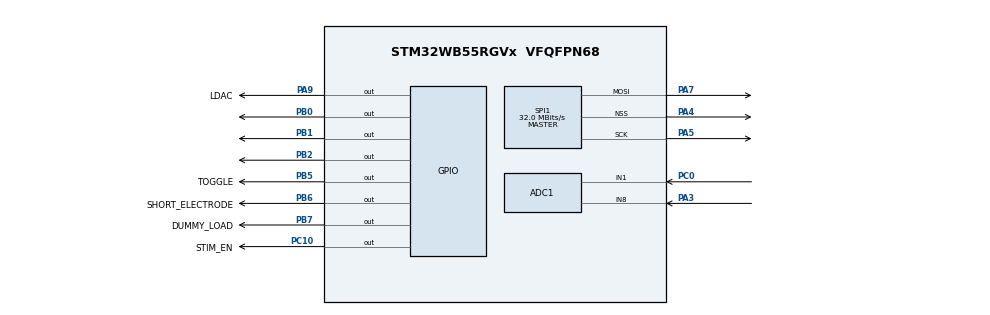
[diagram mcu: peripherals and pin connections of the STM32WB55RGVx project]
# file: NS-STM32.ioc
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ADC1.AWD1LowThreshold=113
STM32_WPAN.GAP_PERIPHERAL_ROLE=1
SPI1.VirtualType=VM_MASTER
RF1.Signal=RF_RF1
RCC.SMPSCLockSelectionVirtualVirtual=RCC_SMPSCLKSOURCE_HSI
STM32_WPAN.CUSTOM_TEMPLATE=Enabled
VP_RTC_VS_RTC_Activate.Mode=RTC_Enabled
PB6.GPIO_Label=SHORT_ELECTRODE
SPI1.TIMode=SPI_TIMODE_DISABLE
RCC.SYSCLKSource=RCC_SYSCLKSOURCE_PLLCLK
NVIC.ADC1_IRQn=true\:2\:0\:true\:false\:true\:true\:false
STM32_WPAN.NUMBER_OF_SERVICES=2
ADC1.Channel-5\#ChannelRegularConversion=ADC_CHANNEL_1
PA4.Mode=NSS_Signal_Hard_Output
STM32_WPAN.SERVICE2_CHAR1_LENGTH_CHARACTERISTIC=CHAR_VALUE_LEN_CONSTANT
SPI1.Direction=SPI_DIRECTION_2LINES
STM32_WPAN.LOCAL_NAME=NeuroST
STM32_WPAN.SERVICE1_CHAR3_LONG_NAME=OTA_REQ
RCC.APB2TimFreq_Value=64000000
PB6.Signal=GPIO_Output
Dma.ADC1.0.Direction=DMA_PERIPH_TO_MEMORY
ADC1.InjNumberOfConversion=1
SPI1.CalculateBaudRate=32.0 MBits/s
STM32_WPAN.CFG_TX_POWER=(0x1F) /* 6dBm */
Dma.ADC1.0.MemDataAlignment=DMA_MDATAALIGN_HALFWORD
LPTIM2.ClockPrescaler=LPTIM_PRESCALER_DIV128
PB3.Mode=Trace_Asynchronous_SW
PB2.Signal=GPIO_Output
RCC.RTCClockSelection=RCC_RTCCLKSOURCE_LSE
STM32_WPAN.SERVICE2_CHAR2_SHORT_NAME=REC_STREAM_CHAR
STM32_WPAN.SERVICE1_CHAR1_UUID=FE 41
VP_LPTIM2_VS_LPTIM_counterModeInternalClock.Mode=Counts__internal_clock_event_00
PB1.GPIO_Speed=GPIO_SPEED_FREQ_LOW
STM32_WPAN.SERVICE1_SHORT_NAME=STIM_CMD_SVCS
Dma.ADC1.0.PeriphInc=DMA_PINC_DISABLE
NVIC.TIM2_IRQn=true\:0\:0\:false\:false\:true\:true\:false
SPI1.DataSize=SPI_DATASIZE_16BIT
SH.ADCx_IN8.0=ADC1_IN8,IN8-Single-Ended
STM32_WPAN.SERVICE2_UUID=FE 50
SPI1.VirtualNSS=VM_NSSHARD
PB2.GPIO_PuPd=GPIO_PULLUP
VP_TIM1_VS_ClockSourceINT.Mode=Internal
STM32_WPAN.SERVICE2_CHAR2_VALUE_LENGTH=240
ADC1.OffsetNumber-5\#ChannelRegularConversion=ADC_OFFSET_NONE
NVIC.HSEM_IRQn=true\:0\:0\:false\:false\:true\:false\:true
Mcu.Package=VFQFPN68
TIM2.Prescaler=15
PB1.Signal=GPIO_Output
ADC1.EnableInjectedConversion=ENABLE
STM32_WPAN.SERVICE2_NUMBER_OF_CHARACTERISTICS=1
VP_HSEM_VS_HSEM.Mode=HSEM_Activate
STM32_WPAN.CFG_GAP_DEVICE_NAME=NeuroStimulator
RCC.APB1TimFreq_Value=64000000
PB0.GPIO_ModeDefaultOutputPP=GPIO_MODE_OUTPUT_PP
TIM1.Period=50
STM32_WPAN.SERVICE1_NUMBER_OF_CHARACTERISTICS=3
Dma.ADC1.0.EventEnable=DISABLE
RCC.HSI48_VALUE=48000000
PA5.Mode=TX_Only_Simplex_Unidirect_Master
STM32_WPAN.SERVICE1_CHAR2_LENGTH_CHARACTERISTIC=CHAR_VALUE_LEN_CONSTANT
STM32_WPAN.SERVICE1_CHAR1_LENGTH_CHARACTERISTIC=CHAR_VALUE_LEN_CONSTANT
STM32_WPAN.SERVICE1_CHAR2_SHORT_NAME=CMD_FB_CHAR
Dma.ADC1.0.Instance=DMA1_Channel2
Dma.ADC1.0.SyncRequestNumber=1
PA9.GPIO_Label=LDAC
TIM2.Pulse-PWM\ Generation1\ No\ Output=0xffffffff
STM32_WPAN.INCLUDE_AD_TYPE_TX_POWER_LEVEL=0
STM32_WPAN.SERVICE2_CHAR2_PROP_NOTIFY=CHAR_PROP_NOTIFY
SPI1.CLKPhase=SPI_PHASE_1EDGE
ADC1.InjMonitoredBy-6\#ChannelInjectedConversion=__NULL
PC0.Signal=ADCx_IN1
TIM2.OCPolarity_1=TIM_OCPOLARITY_LOW
PC14-OSC32_IN.Signal=RCC_OSC32_IN
ADC1.WatchdogMode=ADC_ANALOGWATCHDOG_SINGLE_INJEC
STM32_WPAN.SERVICE1_CHAR3_GATT_NOTIFY_READ_REQ_AND_WAIT_FOR_APPL_RESP=\ 
TIM2.OCMode_PWM-PWM\ Generation1\ No\ Output=TIM_OCMODE_PWM2
STM32_WPAN.SERVICE1_CHAR2_PROP_NOTIFY=CHAR_PROP_NOTIFY
STM32_WPAN.LOCAL_NAME_FORMATTED=,'N','e','u','r','o','S','T'
Dma.ADC1.0.SignalID=NONE
STM32_WPAN.SERVICE1_CHAR2_GATT_NOTIFY_READ_REQ_AND_WAIT_FOR_APPL_RESP=\ 
Dma.ADC1.0.Priority=DMA_PRIORITY_LOW
PA9.Signal=GPIO_Output
STM32_WPAN.CFG_ADV_BD_ADDRESS=0x7257acd87a6c
STM32_WPAN.CUSTOM_P2P_SERVER=Disabled
OSC_IN.Signal=RCC_OSC_IN
PA5.Signal=SPI1_SCK
STM32_WPAN.AD_TYPE_COMPLETE_LOCAL_NAME_LENGTH=8
VP_SEQUENCER_VS_SEQUENCER.Mode=SEQUENCER_Enabled
PA7.GPIO_Speed=GPIO_SPEED_FREQ_VERY_HIGH
TIM1.TIM_MasterOutputTrigger=TIM_TRGO_UPDATE
ADC1.AWD1ITMode=ENABLE
SPI1.Mode=SPI_MODE_MASTER
STM32_WPAN.AD_TYPE_COMPLETE_LOCAL_NAME=NeuroST
STM32_WPAN.SERVICE1_CHAR3_GATT_NOTIFY_WRITE_REQ_AND_WAIT_FOR_APPL_RESP=\ 
ADC1.DMAContinuousRequests=ENABLE
TIM2.Period=0xffffff
STM32_WPAN.SERVICE1_CHAR1_PROP_WRITE_WITHOUT_RESP=CHAR_PROP_WRITE_WITHOUT_RESP
PA13.Mode=Trace_Asynchronous_SW
STM32_WPAN.SERVICE2_CHAR1_GATT_NOTIFY_READ_REQ_AND_WAIT_FOR_APPL_RESP=\ 
SPI1.NSSPMode=SPI_NSS_PULSE_ENABLE
STM32_WPAN.SERVICE1_CHAR3_PROP_BROADCAST=\ 
ADC1.ExternalTrigConv=ADC_EXTERNALTRIG_T1_TRGO
STM32_WPAN.SERVICE1_CHAR1_SHORT_NAME=SERIAL_CMD_CHAR
PA4.Signal=SPI1_NSS
PB5.Signal=GPIO_Output
ADC1.master=1
OSC_IN.Mode=HSE-External-Oscillator
STM32_WPAN.SERVICE1_CHAR1_VALUE_LENGTH=5
Dma.ADC1.0.RequestNumber=1
ProjectManager.HeapSize=0x400
ADC1.SamplingTime-5\#ChannelRegularConversion=ADC_SAMPLETIME_2CYCLES_5
NVIC.PriorityGroup=NVIC_PRIORITYGROUP_4
TIM2.Channel-PWM\ Generation1\ No\ Output=TIM_CHANNEL_1
STM32_WPAN.SERVICE1_CHAR1_LONG_NAME=SERIAL_COMMAND_INPUT_CHAR
PB1.GPIO_ModeDefaultOutputPP=GPIO_MODE_OUTPUT_PP
PB0.Signal=GPIO_Output
ADC1.Rank-5\#ChannelRegularConversion=1
STM32_WPAN.SERVICE1_CHAR3_UUID=FE 11
Mcu.Family=STM32WB
STM32_WPAN.SERVICE1_CHAR2_LONG_NAME=COMMAND_FEEDBACK_CHAR
ADC1.InjectedChannel-6\#ChannelInjectedConversion=ADC_CHANNEL_8
RCC.CortexFreq_Value=64000000
STM32_WPAN.SERVICE1_CHAR1_GATT_NOTIFY_ATTRIBUTE_WRITE=\ 
Dma.ADC1.0.Polarity=HAL_DMAMUX_REQ_GEN_RISING
PC10.Signal=GPIO_Output
PB2.GPIO_Speed=GPIO_SPEED_FREQ_VERY_HIGH
STM32_WPAN.AD_TYPE_MANUFACTURER_SPECIFIC_DATA_COMPANY_IDENTIFIER=01,00
ADC1.InjectedRank-6\#ChannelInjectedConversion=1
ProjectManager.StackSize=0x1000
STM32_WPAN.SERVICE2_SHORT_NAME=REC_STREAM_SVCS
STM32_WPAN.SERVICE2_CHAR1_GATT_NOTIFY_WRITE_REQ_AND_WAIT_FOR_APPL_RESP=\ 
STM32_WPAN.AD_TYPE_MANUFACTURER_DATA_10=6C
STM32_WPAN.SERVICE2_CHAR1_UUID=FE 51
TIM1.Prescaler=639
ADC1.InjectedOffsetNumber-6\#ChannelInjectedConversion=ADC_OFFSET_NONE
PB0.PinState=GPIO_PIN_RESET
PB1.GPIO_PuPd=GPIO_NOPULL
RCC.HCLKFreq_Value=64000000
OSC_OUT.Mode=HSE-External-Oscillator
STM32_WPAN.SERVICE1_CHAR1_PROP_READ=\ 
OSC_OUT.Signal=RCC_OSC_OUT
RCC.AHBFreq_Value=64000000
NVIC.LPTIM2_IRQn=true\:1\:0\:true\:false\:true\:true\:false
ADC1.ExternalTrigInjecConv=ADC_EXTERNALTRIGINJEC_T2_TRGO
RCC.HSE_VALUE=32000000
VP_TIM2_VS_no_output1.Mode=PWM Generation1 No Output
STM32_WPAN.SERVICE2_CHAR2_GATT_NOTIFY_WRITE_REQ_AND_WAIT_FOR_APPL_RESP=\ 
STM32_WPAN.CFG_GAP_DEVICE_NAME_LENGTH=15
STM32_WPAN.SERVICE1_UUID=FE 40
STM32_WPAN.PAIRING_PARAMETERS=ON
STM32_WPAN.SERVICE2_CHAR2_GATT_NOTIFY_READ_REQ_AND_WAIT_FOR_APPL_RESP=\ 
PC14-OSC32_IN.Mode=LSE-External-Oscillator
ADC1.AWD1HighThreshold=3982
PA14.Mode=Trace_Asynchronous_SW
PB7.Signal=GPIO_Output
STM32_WPAN.SERVICE1_CHAR2_PROP_BROADCAST=\ 
STM32_WPAN.INCLUDE_AD_TYPE_ADVERTISING_INTERVAL=0
STM32_WPAN.SERVICE1_CHAR2_GATT_NOTIFY_WRITE_REQ_AND_WAIT_FOR_APPL_RESP=\ 
STM32_WPAN.SERVICE2_LONG_NAME=RECORDING_STREAM_SERVICE
RCC.APB3Freq_Value=16000000
PB1.PinState=GPIO_PIN_RESET
PB7.GPIO_Label=DUMMY_LOAD
STM32_WPAN.SERVICE1_CHAR2_VALUE_LENGTH=5
STM32_WPAN.SERVICE2_CHAR1_LONG_NAME=RECORDING_STREAM_CHAR
STM32_WPAN.SERVICE1_CHAR3_VALUE_LENGTH=3
VP_TINY_LPM_VS_TINY_LPM.Mode=TINY_LPM_Enabled
ADC1.Rank1_Channel=ADC_CHANNEL_8
TIM2.TIM_MasterOutputTrigger=TIM_TRGO_OC1REF
SH.ADCx_IN1.0=ADC1_IN1,IN1-Single-Ended
PB5.GPIO_Label=TOGGLE
Dma.Request0=ADC1
SPI1.BaudRatePrescaler=SPI_BAUDRATEPRESCALER_2
TIM2.OC1Preload_PWM=DISABLE
RCC.PLLSAI1N=24
STM32_WPAN.INCLUDE_AD_TYPE_MANUFACTURER_SPECIFIC_DATA=1
PA3.Signal=ADCx_IN8
PC15-OSC32_OUT.Mode=LSE-External-Oscillator
STM32_WPAN.SERVICE1_CHAR3_PROP_WRITE_WITHOUT_RESP=CHAR_PROP_WRITE_WITHOUT_RESP
PA7.Mode=TX_Only_Simplex_Unidirect_Master
VP_STM32_WPAN_VS_BLE_HOST.Mode=STM32_WPAN_Enabled
PC10.GPIO_Label=STIM_EN
STM32_WPAN.SERVICE1_CHAR1_PROP_BROADCAST=\ 
ADC1.InjectedSamplingTime-6\#ChannelInjectedConversion=ADC_SAMPLETIME_24CYCLES_5
STM32_WPAN.SERVICE1_CHAR1_GATT_NOTIFY_WRITE_REQ_AND_WAIT_FOR_APPL_RESP=GATT_NOTIFY_WRITE_REQ_AND_WAIT_FOR_APPL_RESP
PA9.GPIO_PuPd=GPIO_PULLUP
RCC.AHB2CLKDivider=RCC_SYSCLK_DIV2
STM32_WPAN.SERVICE2_CHAR1_PROP_READ=\ 
STM32_WPAN.SERVICE2_CHAR2_UUID=FE 52
STM32_WPAN.SERVICE2_CHAR1_PROP_NOTIFY=CHAR_PROP_NOTIFY
PB0.GPIO_Speed=GPIO_SPEED_FREQ_LOW
PA13.Signal=SYS_JTMS-SWDIO
STM32_WPAN.AD_TYPE_MANUFACTURER_DATA_NBR=10
Dma.ADC1.0.PeriphDataAlignment=DMA_PDATAALIGN_HALFWORD
NVIC.DMA1_Channel2_IRQn=true\:2\:0\:true\:false\:true\:false\:false
ProjectManager.TargetToolchain=STM32CubeIDE
Dma.ADC1.0.Mode=DMA_CIRCULAR
STM32_WPAN.SERVICE2_CHAR2_LONG_NAME=RECORDING_STREAM_CHAR
Dma.ADC1.0.SyncSignalID=NONE
STM32_WPAN.INCLUDE_AD_TYPE_COMPLETE_LOCAL_NAME=1
ADC1.EnableAnalogWatchDog1=true
RCC.USBFreq_Value=48000000
STM32_WPAN.SERVICE2_CHAR1_SHORT_NAME=REC_STREAM_CHAR
PC15-OSC32_OUT.Signal=RCC_OSC32_OUT
STM32_WPAN.SERVICE2_CHAR1_PROP_BROADCAST=\ 
RCC.SMPSCLockSelectionVirtual=RCC_SMPSCLKSOURCE_HSI
STM32_WPAN.SERVICE1_LONG_NAME=STIMULATION_COMMAND_SERVICE
board=P-NUCLEO-WB55-Nucleo
STM32_WPAN.SERVICE1_CHAR1_GATT_NOTIFY_READ_REQ_AND_WAIT_FOR_APPL_RESP=\ 
STM32_WPAN.SERVICE2_CHAR2_PROP_BROADCAST=\ 
RCC.VCOOutputFreq_Value=128000000
STM32_WPAN.SERVICE2_CHAR1_VALUE_LENGTH=240
Dma.ADC1.0.SyncPolarity=HAL_DMAMUX_SYNC_NO_EVENT
STM32_WPAN.AD_TYPE_MANUFACTURER_DATA_9=7A
STM32_WPAN.AD_TYPE_MANUFACTURER_DATA_8=D8
RCC.APB2Freq_Value=64000000
STM32_WPAN.AD_TYPE_MANUFACTURER_DATA_5=72
STM32_WPAN.AD_TYPE_MANUFACTURER_DATA_7=AC
STM32_WPAN.AD_TYPE_MANUFACTURER_DATA_6=57
VP_TIM2_VS_ClockSourceINT.Mode=Internal
RCC.ADCFreq_Value=48000000
STM32_WPAN.SERVICE1_CHAR3_SHORT_NAME=OTA_REQ
Mcu.Name=STM32WB55RGVx
STM32_WPAN.SERVICE1_CHAR2_UUID=FE 42
PB3.Signal=SYS_JTDO-SWO
RCC.SYSCLKFreq_VALUE=64000000
RF1.Mode=RF1_Activate
Dma.ADC1.0.SyncEnable=DISABLE
PA14.Signal=SYS_JTCK-SWCLK
Dma.ADC1.0.MemInc=DMA_MINC_ENABLE
ADC1.WatchdogChannel=ADC_CHANNEL_8
RCC.HSI_VALUE=16000000
PA5.GPIO_Speed=GPIO_SPEED_FREQ_VERY_HIGH
ADC1.NbrOfConversionFlag=1
RCC.PLLN=32
PA9.GPIO_Speed=GPIO_SPEED_FREQ_VERY_HIGH
RCC.APB1Freq_Value=64000000
RCC.RFWKPClockSelection=RCC_RFWKPCLKSOURCE_LSE
PB0.GPIO_PuPd=GPIO_NOPULL
STM32_WPAN.SERVICE2_CHAR1_GATT_NOTIFY_ATTRIBUTE_WRITE=\ 
PA7.Signal=SPI1_MOSI

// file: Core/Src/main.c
/* USER CODE BEGIN Header */
/**
  ******************************************************************************
  * @file           : main.c
  * @brief          : Main program body
  ******************************************************************************
  * @attention
  *
  * <h2><center>&copy; Copyright (c) 2020 STMicroelectronics.
  * All rights reserved.</center></h2>
  *
  * This software component is licensed by ST under Ultimate Liberty license
  * SLA0044, the "License"; You may not use this file except in compliance with
  * the License. You may obtain a copy of the License at:
  *                             www.st.com/SLA0044
  *
  ******************************************************************************
  */
/* USER CODE END Header */
#include "main.h"
#include "app_entry.h"
#include "app_common.h"

/* USER CODE BEGIN Includes */
#include "stm32_lpm.h"
#include "stm32_seq.h"
#include "dbg_trace.h"
#include "hw_conf.h"
#include "otp.h"
#include "stdio.h"
/* USER CODE END Includes */

ADC_HandleTypeDef hadc1;
DMA_HandleTypeDef hdma_adc1;

LPTIM_HandleTypeDef hlptim2;

RTC_HandleTypeDef hrtc;

TIM_HandleTypeDef htim1;
TIM_HandleTypeDef htim2;

void SystemClock_Config(void);
static void MX_GPIO_Init(void);
static void MX_DMA_Init(void);
static void MX_RF_Init(void);
static void MX_RTC_Init(void);
static void MX_SPI1_Init(void);
static void MX_TIM2_Init(void);
static void MX_LPTIM2_Init(void);
static void MX_ADC1_Init(void);
static void MX_TIM1_Init(void);
/* USER CODE BEGIN PFP */
static void Reset_Device(void);
static void Reset_IPCC(void);
static void Reset_BackupDomain(void);
static void Init_Exti(void);
static void Param_Init(void);
/* USER CODE END PFP */

int main(void)
{

  /* MCU Configuration--------------------------------------------------------*/

  /* Reset of all peripherals, Initializes the Flash interface and the Systick. */
  HAL_Init();

  /* USER CODE BEGIN Init */
  Reset_Device();
  /* USER CODE END Init */

  /* Configure the system clock */
  SystemClock_Config();

  /* USER CODE BEGIN SysInit */
  Init_Exti();
  /* USER CODE END SysInit */

  /* Initialize all configured peripherals */
  MX_GPIO_Init();
  MX_DMA_Init();
  MX_RF_Init();
  MX_RTC_Init();
  MX_SPI1_Init();
  MX_TIM2_Init();
  MX_LPTIM2_Init();
  MX_ADC1_Init();
  MX_TIM1_Init();
  /* USER CODE BEGIN 2 */
  Param_Init();

  //timer2 can be paused when hit breakpoints in debugging mode
  __HAL_DBGMCU_FREEZE_TIM2();
  __HAL_DBGMCU_FREEZE_TIM1();

  //short elec
  HAL_GPIO_WritePin(GPIOB, DUMMY_LOAD_Pin| SHORT_ELECTRODE_Pin, SET);

  //enable spi
  LL_SPI_Enable(SPI1);

  /* USER CODE END 2 */

  /* Init code for STM32_WPAN */
  APPE_Init();
  /* Infinite loop */
  /* USER CODE BEGIN WHILE */
  TIM2->ARR = 10000;
  HAL_TIM_Base_Start_IT(&htim2);
  while (1)
  {
	  UTIL_SEQ_Run( UTIL_SEQ_DEFAULT );
	  if(IsEmptyQueue(&COMMAND_QUEUE) == 0){
		  uint8_t *command_buffer = calloc(5,sizeof(uint8_t));
		  DeQueue(&COMMAND_QUEUE, command_buffer);
		  execute_command(command_buffer);
		  Custom_STM_App_Update_Char(CUSTOM_STM_CMD_FB_CHAR, (uint8_t *)command_buffer);
	  }
    /* USER CODE END WHILE */

  }
}

void SystemClock_Config(void)
{
  RCC_OscInitTypeDef RCC_OscInitStruct = {0};
  RCC_ClkInitTypeDef RCC_ClkInitStruct = {0};
  RCC_PeriphCLKInitTypeDef PeriphClkInitStruct = {0};

  /** Configure LSE Drive Capability
  */
  HAL_PWR_EnableBkUpAccess();
  __HAL_RCC_LSEDRIVE_CONFIG(RCC_LSEDRIVE_LOW);
  /** Configure the main internal regulator output voltage
  */
  __HAL_PWR_VOLTAGESCALING_CONFIG(PWR_REGULATOR_VOLTAGE_SCALE1);
  /** Initializes the RCC Oscillators according to the specified parameters
  * in the RCC_OscInitTypeDef structure.
  */
  RCC_OscInitStruct.OscillatorType = RCC_OSCILLATORTYPE_HSI|RCC_OSCILLATORTYPE_HSE
                              |RCC_OSCILLATORTYPE_LSE|RCC_OSCILLATORTYPE_MSI;
  RCC_OscInitStruct.HSEState = RCC_HSE_ON;
  RCC_OscInitStruct.LSEState = RCC_LSE_ON;
  RCC_OscInitStruct.HSIState = RCC_HSI_ON;
  RCC_OscInitStruct.MSIState = RCC_MSI_ON;
  RCC_OscInitStruct.HSICalibrationValue = RCC_HSICALIBRATION_DEFAULT;
  RCC_OscInitStruct.MSICalibrationValue = RCC_MSICALIBRATION_DEFAULT;
  RCC_OscInitStruct.MSIClockRange = RCC_MSIRANGE_6;
  RCC_OscInitStruct.PLL.PLLState = RCC_PLL_ON;
  RCC_OscInitStruct.PLL.PLLSource = RCC_PLLSOURCE_MSI;
  RCC_OscInitStruct.PLL.PLLM = RCC_PLLM_DIV1;
  RCC_OscInitStruct.PLL.PLLN = 32;
  RCC_OscInitStruct.PLL.PLLP = RCC_PLLP_DIV2;
  RCC_OscInitStruct.PLL.PLLR = RCC_PLLR_DIV2;
  RCC_OscInitStruct.PLL.PLLQ = RCC_PLLQ_DIV2;
  if (HAL_RCC_OscConfig(&RCC_OscInitStruct) != HAL_OK)
  {
    Error_Handler();
  }
  /** Configure the SYSCLKSource, HCLK, PCLK1 and PCLK2 clocks dividers
  */
  RCC_ClkInitStruct.ClockType = RCC_CLOCKTYPE_HCLK4|RCC_CLOCKTYPE_HCLK2
                              |RCC_CLOCKTYPE_HCLK|RCC_CLOCKTYPE_SYSCLK
                              |RCC_CLOCKTYPE_PCLK1|RCC_CLOCKTYPE_PCLK2;
  RCC_ClkInitStruct.SYSCLKSource = RCC_SYSCLKSOURCE_PLLCLK;
  RCC_ClkInitStruct.AHBCLKDivider = RCC_SYSCLK_DIV1;
  RCC_ClkInitStruct.APB1CLKDivider = RCC_HCLK_DIV1;
  RCC_ClkInitStruct.APB2CLKDivider = RCC_HCLK_DIV1;
  RCC_ClkInitStruct.AHBCLK2Divider = RCC_SYSCLK_DIV2;
  RCC_ClkInitStruct.AHBCLK4Divider = RCC_SYSCLK_DIV1;

  if (HAL_RCC_ClockConfig(&RCC_ClkInitStruct, FLASH_LATENCY_3) != HAL_OK)
  {
    Error_Handler();
  }
  /** Initializes the peripherals clocks
  */
  PeriphClkInitStruct.PeriphClockSelection = RCC_PERIPHCLK_SMPS|RCC_PERIPHCLK_RFWAKEUP
                              |RCC_PERIPHCLK_RTC|RCC_PERIPHCLK_LPTIM2
                              |RCC_PERIPHCLK_ADC;
  PeriphClkInitStruct.PLLSAI1.PLLN = 24;
  PeriphClkInitStruct.PLLSAI1.PLLP = RCC_PLLP_DIV2;
  PeriphClkInitStruct.PLLSAI1.PLLQ = RCC_PLLQ_DIV2;
  PeriphClkInitStruct.PLLSAI1.PLLR = RCC_PLLR_DIV2;
  PeriphClkInitStruct.PLLSAI1.PLLSAI1ClockOut = RCC_PLLSAI1_ADCCLK;
  PeriphClkInitStruct.Lptim2ClockSelection = RCC_LPTIM2CLKSOURCE_PCLK;
  PeriphClkInitStruct.AdcClockSelection = RCC_ADCCLKSOURCE_PLLSAI1;
  PeriphClkInitStruct.RTCClockSelection = RCC_RTCCLKSOURCE_LSE;
  PeriphClkInitStruct.RFWakeUpClockSelection = RCC_RFWKPCLKSOURCE_LSE;
  PeriphClkInitStruct.SmpsClockSelection = RCC_SMPSCLKSOURCE_HSI;
  PeriphClkInitStruct.SmpsDivSelection = RCC_SMPSCLKDIV_RANGE1;
  if (HAL_RCCEx_PeriphCLKConfig(&PeriphClkInitStruct) != HAL_OK)
  {
    Error_Handler();
  }
}

static void MX_ADC1_Init(void)
{

  ADC_AnalogWDGConfTypeDef AnalogWDGConfig = {0};
  ADC_ChannelConfTypeDef sConfig = {0};
  ADC_InjectionConfTypeDef sConfigInjected = {0};

  /** Common config
  */
  hadc1.Instance = ADC1;
  hadc1.Init.ClockPrescaler = ADC_CLOCK_ASYNC_DIV1;
  hadc1.Init.Resolution = ADC_RESOLUTION_12B;
  hadc1.Init.DataAlign = ADC_DATAALIGN_RIGHT;
  hadc1.Init.ScanConvMode = ADC_SCAN_DISABLE;
  hadc1.Init.EOCSelection = ADC_EOC_SINGLE_CONV;
  hadc1.Init.LowPowerAutoWait = DISABLE;
  hadc1.Init.ContinuousConvMode = DISABLE;
  hadc1.Init.NbrOfConversion = 1;
  hadc1.Init.DiscontinuousConvMode = DISABLE;
  hadc1.Init.ExternalTrigConv = ADC_EXTERNALTRIG_T1_TRGO;
  hadc1.Init.ExternalTrigConvEdge = ADC_EXTERNALTRIGCONVEDGE_RISING;
  hadc1.Init.DMAContinuousRequests = ENABLE;
  hadc1.Init.Overrun = ADC_OVR_DATA_PRESERVED;
  hadc1.Init.OversamplingMode = DISABLE;
  if (HAL_ADC_Init(&hadc1) != HAL_OK)
  {
    Error_Handler();
  }
  /** Disable Injected Queue
  */
  HAL_ADCEx_DisableInjectedQueue(&hadc1);
  /** Configure Analog WatchDog 1
  */
  AnalogWDGConfig.WatchdogNumber = ADC_ANALOGWATCHDOG_1;
  AnalogWDGConfig.WatchdogMode = ADC_ANALOGWATCHDOG_SINGLE_INJEC;
  AnalogWDGConfig.Channel = ADC_CHANNEL_8;
  AnalogWDGConfig.ITMode = ENABLE;
  AnalogWDGConfig.HighThreshold = 3982;
  AnalogWDGConfig.LowThreshold = 113;
  if (HAL_ADC_AnalogWDGConfig(&hadc1, &AnalogWDGConfig) != HAL_OK)
  {
    Error_Handler();
  }
  /** Configure Regular Channel
  */
  sConfig.Channel = ADC_CHANNEL_1;
  sConfig.Rank = ADC_REGULAR_RANK_1;
  sConfig.SamplingTime = ADC_SAMPLETIME_2CYCLES_5;
  sConfig.SingleDiff = ADC_SINGLE_ENDED;
  sConfig.OffsetNumber = ADC_OFFSET_NONE;
  sConfig.Offset = 0;
  if (HAL_ADC_ConfigChannel(&hadc1, &sConfig) != HAL_OK)
  {
    Error_Handler();
  }
  /** Configure Injected Channel
  */
  sConfigInjected.InjectedChannel = ADC_CHANNEL_8;
  sConfigInjected.InjectedRank = ADC_INJECTED_RANK_1;
  sConfigInjected.InjectedSamplingTime = ADC_SAMPLETIME_24CYCLES_5;
  sConfigInjected.InjectedSingleDiff = ADC_SINGLE_ENDED;
  sConfigInjected.InjectedOffsetNumber = ADC_OFFSET_NONE;
  sConfigInjected.InjectedOffset = 0;
  sConfigInjected.InjectedNbrOfConversion = 1;
  sConfigInjected.InjectedDiscontinuousConvMode = DISABLE;
  sConfigInjected.AutoInjectedConv = DISABLE;
  sConfigInjected.QueueInjectedContext = DISABLE;
  sConfigInjected.ExternalTrigInjecConv = ADC_EXTERNALTRIGINJEC_T2_TRGO;
  sConfigInjected.ExternalTrigInjecConvEdge = ADC_EXTERNALTRIGINJECCONV_EDGE_RISING;
  sConfigInjected.InjecOversamplingMode = DISABLE;
  if (HAL_ADCEx_InjectedConfigChannel(&hadc1, &sConfigInjected) != HAL_OK)
  {
    Error_Handler();
  }
  /* USER CODE BEGIN ADC1_Init 2 */

  //calibrate adc1
  HAL_ADCEx_Calibration_Start(&hadc1,ADC_SINGLE_ENDED);

  HAL_ADC_Start_DMA(&hadc1, (uint32_t *)ADC_BUFFER, 150);
  /* USER CODE END ADC1_Init 2 */

}

static void MX_LPTIM2_Init(void)
{

  hlptim2.Instance = LPTIM2;
  hlptim2.Init.Clock.Source = LPTIM_CLOCKSOURCE_APBCLOCK_LPOSC;
  hlptim2.Init.Clock.Prescaler = LPTIM_PRESCALER_DIV128;
  hlptim2.Init.Trigger.Source = LPTIM_TRIGSOURCE_SOFTWARE;
  hlptim2.Init.OutputPolarity = LPTIM_OUTPUTPOLARITY_HIGH;
  hlptim2.Init.UpdateMode = LPTIM_UPDATE_IMMEDIATE;
  hlptim2.Init.CounterSource = LPTIM_COUNTERSOURCE_INTERNAL;
  hlptim2.Init.Input1Source = LPTIM_INPUT1SOURCE_GPIO;
  hlptim2.Init.Input2Source = LPTIM_INPUT2SOURCE_GPIO;
  if (HAL_LPTIM_Init(&hlptim2) != HAL_OK)
  {
    Error_Handler();
  }

}

static void MX_RF_Init(void)
{

}

static void MX_RTC_Init(void)
{

  /** Initialize RTC Only
  */
  hrtc.Instance = RTC;
  hrtc.Init.HourFormat = RTC_HOURFORMAT_24;
  hrtc.Init.AsynchPrediv = CFG_RTC_ASYNCH_PRESCALER;
  hrtc.Init.SynchPrediv = CFG_RTC_SYNCH_PRESCALER;
  hrtc.Init.OutPut = RTC_OUTPUT_DISABLE;
  hrtc.Init.OutPutPolarity = RTC_OUTPUT_POLARITY_HIGH;
  hrtc.Init.OutPutType = RTC_OUTPUT_TYPE_OPENDRAIN;
  hrtc.Init.OutPutRemap = RTC_OUTPUT_REMAP_NONE;
  if (HAL_RTC_Init(&hrtc) != HAL_OK)
  {
    Error_Handler();
  }
  /* USER CODE BEGIN RTC_Init 2 */
  /* Disable RTC registers write protection */
    LL_RTC_DisableWriteProtection(RTC);

    LL_RTC_WAKEUP_SetClock(RTC, CFG_RTC_WUCKSEL_DIVIDER);

    /* Enable RTC registers write protection */
    LL_RTC_EnableWriteProtection(RTC);
  /* USER CODE END RTC_Init 2 */

}

static void MX_SPI1_Init(void)
{

  LL_SPI_InitTypeDef SPI_InitStruct = {0};

  LL_GPIO_InitTypeDef GPIO_InitStruct = {0};

  /* Peripheral clock enable */
  LL_APB2_GRP1_EnableClock(LL_APB2_GRP1_PERIPH_SPI1);

  LL_AHB2_GRP1_EnableClock(LL_AHB2_GRP1_PERIPH_GPIOA);
  /**SPI1 GPIO Configuration
  PA4   ------> SPI1_NSS
  PA5   ------> SPI1_SCK
  PA7   ------> SPI1_MOSI
  */
  GPIO_InitStruct.Pin = LL_GPIO_PIN_4;
  GPIO_InitStruct.Mode = LL_GPIO_MODE_ALTERNATE;
  GPIO_InitStruct.Speed = LL_GPIO_SPEED_FREQ_LOW;
  GPIO_InitStruct.OutputType = LL_GPIO_OUTPUT_PUSHPULL;
  GPIO_InitStruct.Pull = LL_GPIO_PULL_NO;
  GPIO_InitStruct.Alternate = LL_GPIO_AF_5;
  LL_GPIO_Init(GPIOA, &GPIO_InitStruct);

  GPIO_InitStruct.Pin = LL_GPIO_PIN_5|LL_GPIO_PIN_7;
  GPIO_InitStruct.Mode = LL_GPIO_MODE_ALTERNATE;
  GPIO_InitStruct.Speed = LL_GPIO_SPEED_FREQ_VERY_HIGH;
  GPIO_InitStruct.OutputType = LL_GPIO_OUTPUT_PUSHPULL;
  GPIO_InitStruct.Pull = LL_GPIO_PULL_NO;
  GPIO_InitStruct.Alternate = LL_GPIO_AF_5;
  LL_GPIO_Init(GPIOA, &GPIO_InitStruct);

  /* SPI1 parameter configuration*/
  SPI_InitStruct.TransferDirection = LL_SPI_FULL_DUPLEX;
  SPI_InitStruct.Mode = LL_SPI_MODE_MASTER;
  SPI_InitStruct.DataWidth = LL_SPI_DATAWIDTH_16BIT;
  SPI_InitStruct.ClockPolarity = LL_SPI_POLARITY_LOW;
  SPI_InitStruct.ClockPhase = LL_SPI_PHASE_1EDGE;
  SPI_InitStruct.NSS = LL_SPI_NSS_HARD_OUTPUT;
  SPI_InitStruct.BaudRate = LL_SPI_BAUDRATEPRESCALER_DIV2;
  SPI_InitStruct.BitOrder = LL_SPI_MSB_FIRST;
  SPI_InitStruct.CRCCalculation = LL_SPI_CRCCALCULATION_DISABLE;
  SPI_InitStruct.CRCPoly = 7;
  LL_SPI_Init(SPI1, &SPI_InitStruct);
  LL_SPI_SetStandard(SPI1, LL_SPI_PROTOCOL_MOTOROLA);
  LL_SPI_EnableNSSPulseMgt(SPI1);

}

static void MX_TIM1_Init(void)
{

  TIM_ClockConfigTypeDef sClockSourceConfig = {0};
  TIM_MasterConfigTypeDef sMasterConfig = {0};
  TIM_BreakDeadTimeConfigTypeDef sBreakDeadTimeConfig = {0};

  htim1.Instance = TIM1;
  htim1.Init.Prescaler = 639;
  htim1.Init.CounterMode = TIM_COUNTERMODE_UP;
  htim1.Init.Period = 50;
  htim1.Init.ClockDivision = TIM_CLOCKDIVISION_DIV1;
  htim1.Init.RepetitionCounter = 0;
  htim1.Init.AutoReloadPreload = TIM_AUTORELOAD_PRELOAD_DISABLE;
  if (HAL_TIM_Base_Init(&htim1) != HAL_OK)
  {
    Error_Handler();
  }
  sClockSourceConfig.ClockSource = TIM_CLOCKSOURCE_INTERNAL;
  if (HAL_TIM_ConfigClockSource(&htim1, &sClockSourceConfig) != HAL_OK)
  {
    Error_Handler();
  }
  sMasterConfig.MasterOutputTrigger = TIM_TRGO_UPDATE;
  sMasterConfig.MasterOutputTrigger2 = TIM_TRGO2_RESET;
  sMasterConfig.MasterSlaveMode = TIM_MASTERSLAVEMODE_DISABLE;
  if (HAL_TIMEx_MasterConfigSynchronization(&htim1, &sMasterConfig) != HAL_OK)
  {
    Error_Handler();
  }
  sBreakDeadTimeConfig.BreakAFMode = TIM_BREAK_AFMODE_INPUT;
  sBreakDeadTimeConfig.Break2AFMode = TIM_BREAK_AFMODE_INPUT;
  if (HAL_TIMEx_ConfigBreakDeadTime(&htim1, &sBreakDeadTimeConfig) != HAL_OK)
  {
    Error_Handler();
  }

}

static void MX_TIM2_Init(void)
{

  TIM_ClockConfigTypeDef sClockSourceConfig = {0};
  TIM_MasterConfigTypeDef sMasterConfig = {0};
  TIM_OC_InitTypeDef sConfigOC = {0};

  htim2.Instance = TIM2;
  htim2.Init.Prescaler = 15;
  htim2.Init.CounterMode = TIM_COUNTERMODE_UP;
  htim2.Init.Period = 0xffffff;
  htim2.Init.ClockDivision = TIM_CLOCKDIVISION_DIV1;
  htim2.Init.AutoReloadPreload = TIM_AUTORELOAD_PRELOAD_DISABLE;
  if (HAL_TIM_Base_Init(&htim2) != HAL_OK)
  {
    Error_Handler();
  }
  sClockSourceConfig.ClockSource = TIM_CLOCKSOURCE_INTERNAL;
  if (HAL_TIM_ConfigClockSource(&htim2, &sClockSourceConfig) != HAL_OK)
  {
    Error_Handler();
  }
  if (HAL_TIM_PWM_Init(&htim2) != HAL_OK)
  {
    Error_Handler();
  }
  sMasterConfig.MasterOutputTrigger = TIM_TRGO_OC1REF;
  sMasterConfig.MasterSlaveMode = TIM_MASTERSLAVEMODE_DISABLE;
  if (HAL_TIMEx_MasterConfigSynchronization(&htim2, &sMasterConfig) != HAL_OK)
  {
    Error_Handler();
  }
  sConfigOC.OCMode = TIM_OCMODE_PWM2;
  sConfigOC.Pulse = 0xffffffff;
  sConfigOC.OCPolarity = TIM_OCPOLARITY_LOW;
  sConfigOC.OCFastMode = TIM_OCFAST_DISABLE;
  if (HAL_TIM_PWM_ConfigChannel(&htim2, &sConfigOC, TIM_CHANNEL_1) != HAL_OK)
  {
    Error_Handler();
  }
  __HAL_TIM_DISABLE_OCxPRELOAD(&htim2, TIM_CHANNEL_1);

}

static void MX_DMA_Init(void)
{

  /* DMA controller clock enable */
  __HAL_RCC_DMAMUX1_CLK_ENABLE();
  __HAL_RCC_DMA1_CLK_ENABLE();

  /* DMA interrupt init */
  /* DMA1_Channel2_IRQn interrupt configuration */
  HAL_NVIC_SetPriority(DMA1_Channel2_IRQn, 0, 0);
  HAL_NVIC_EnableIRQ(DMA1_Channel2_IRQn);

}

static void MX_GPIO_Init(void)
{
  GPIO_InitTypeDef GPIO_InitStruct = {0};

  /* GPIO Ports Clock Enable */
  __HAL_RCC_GPIOC_CLK_ENABLE();
  __HAL_RCC_GPIOH_CLK_ENABLE();
  __HAL_RCC_GPIOB_CLK_ENABLE();
  __HAL_RCC_GPIOA_CLK_ENABLE();
  __HAL_RCC_GPIOE_CLK_ENABLE();
  __HAL_RCC_GPIOD_CLK_ENABLE();

  /*Configure GPIO pin Output Level */
  HAL_GPIO_WritePin(LDAC_GPIO_Port, LDAC_Pin, GPIO_PIN_RESET);

  /*Configure GPIO pin Output Level */
  HAL_GPIO_WritePin(GPIOB, GPIO_PIN_2|GPIO_PIN_0|GPIO_PIN_1|TOGGLE_Pin
                          |SHORT_ELECTRODE_Pin|DUMMY_LOAD_Pin, GPIO_PIN_RESET);

  /*Configure GPIO pin Output Level */
  HAL_GPIO_WritePin(STIM_EN_GPIO_Port, STIM_EN_Pin, GPIO_PIN_RESET);

  /*Configure GPIO pins : PC13 PC1 PC2 PC3
                           PC4 PC5 PC6 PC11
                           PC12 */
  GPIO_InitStruct.Pin = GPIO_PIN_13|GPIO_PIN_1|GPIO_PIN_2|GPIO_PIN_3
                          |GPIO_PIN_4|GPIO_PIN_5|GPIO_PIN_6|GPIO_PIN_11
                          |GPIO_PIN_12;
  GPIO_InitStruct.Mode = GPIO_MODE_ANALOG;
  GPIO_InitStruct.Pull = GPIO_NOPULL;
  HAL_GPIO_Init(GPIOC, &GPIO_InitStruct);

  /*Configure GPIO pin : PH3 */
  GPIO_InitStruct.Pin = GPIO_PIN_3;
  GPIO_InitStruct.Mode = GPIO_MODE_ANALOG;
  GPIO_InitStruct.Pull = GPIO_NOPULL;
  HAL_GPIO_Init(GPIOH, &GPIO_InitStruct);

  /*Configure GPIO pins : PB8 PB9 PB10 PB11
                           PB12 PB13 PB14 PB15
                           PB4 */
  GPIO_InitStruct.Pin = GPIO_PIN_8|GPIO_PIN_9|GPIO_PIN_10|GPIO_PIN_11
                          |GPIO_PIN_12|GPIO_PIN_13|GPIO_PIN_14|GPIO_PIN_15
                          |GPIO_PIN_4;
  GPIO_InitStruct.Mode = GPIO_MODE_ANALOG;
  GPIO_InitStruct.Pull = GPIO_NOPULL;
  HAL_GPIO_Init(GPIOB, &GPIO_InitStruct);

  /*Configure GPIO pins : PA0 PA1 PA2 PA6
                           PA8 PA10 PA11 PA12
                           PA15 */
  GPIO_InitStruct.Pin = GPIO_PIN_0|GPIO_PIN_1|GPIO_PIN_2|GPIO_PIN_6
                          |GPIO_PIN_8|GPIO_PIN_10|GPIO_PIN_11|GPIO_PIN_12
                          |GPIO_PIN_15;
  GPIO_InitStruct.Mode = GPIO_MODE_ANALOG;
  GPIO_InitStruct.Pull = GPIO_NOPULL;
  HAL_GPIO_Init(GPIOA, &GPIO_InitStruct);

  /*Configure GPIO pin : LDAC_Pin */
  GPIO_InitStruct.Pin = LDAC_Pin;
  GPIO_InitStruct.Mode = GPIO_MODE_OUTPUT_PP;
  GPIO_InitStruct.Pull = GPIO_PULLUP;
  GPIO_InitStruct.Speed = GPIO_SPEED_FREQ_VERY_HIGH;
  HAL_GPIO_Init(LDAC_GPIO_Port, &GPIO_InitStruct);

  /*Configure GPIO pin : PB2 */
  GPIO_InitStruct.Pin = GPIO_PIN_2;
  GPIO_InitStruct.Mode = GPIO_MODE_OUTPUT_PP;
  GPIO_InitStruct.Pull = GPIO_PULLUP;
  GPIO_InitStruct.Speed = GPIO_SPEED_FREQ_VERY_HIGH;
  HAL_GPIO_Init(GPIOB, &GPIO_InitStruct);

  /*Configure GPIO pins : PB0 PB1 TOGGLE_Pin SHORT_ELECTRODE_Pin
                           DUMMY_LOAD_Pin */
  GPIO_InitStruct.Pin = GPIO_PIN_0|GPIO_PIN_1|TOGGLE_Pin|SHORT_ELECTRODE_Pin
                          |DUMMY_LOAD_Pin;
  GPIO_InitStruct.Mode = GPIO_MODE_OUTPUT_PP;
  GPIO_InitStruct.Pull = GPIO_NOPULL;
  GPIO_InitStruct.Speed = GPIO_SPEED_FREQ_LOW;
  HAL_GPIO_Init(GPIOB, &GPIO_InitStruct);

  /*Configure GPIO pin : PE4 */
  GPIO_InitStruct.Pin = GPIO_PIN_4;
  GPIO_InitStruct.Mode = GPIO_MODE_ANALOG;
  GPIO_InitStruct.Pull = GPIO_NOPULL;
  HAL_GPIO_Init(GPIOE, &GPIO_InitStruct);

  /*Configure GPIO pin : STIM_EN_Pin */
  GPIO_InitStruct.Pin = STIM_EN_Pin;
  GPIO_InitStruct.Mode = GPIO_MODE_OUTPUT_PP;
  GPIO_InitStruct.Pull = GPIO_NOPULL;
  GPIO_InitStruct.Speed = GPIO_SPEED_FREQ_LOW;
  HAL_GPIO_Init(STIM_EN_GPIO_Port, &GPIO_InitStruct);

  /*Configure GPIO pins : PD0 PD1 */
  GPIO_InitStruct.Pin = GPIO_PIN_0|GPIO_PIN_1;
  GPIO_InitStruct.Mode = GPIO_MODE_ANALOG;
  GPIO_InitStruct.Pull = GPIO_NOPULL;
  HAL_GPIO_Init(GPIOD, &GPIO_InitStruct);

}

/* USER CODE BEGIN 4 */
static void Param_Init(void){

	InitQueue(&COMMAND_QUEUE);

	PHASE_ONE_TIME = 10;// default 10us
	PHASE_TWO_TIME = 10;// default 10us
	STIM_AMP = 2000;// default 0uA
	INTER_PHASE_GAP = 10;//default 0us
	INTER_STIM_DELAY = 10;//default 0us
	ANODIC_CATHODIC = 1;//default cathodic
	STIM_TYPE = 0;//default uniform stim
	PULSE_NUM = 0;//default 0 is forever in ms
	BURST_NUM = 0;// number of burst
	INTER_BURST_DELAY = 100;
	PULSE_NUM_IN_ONE_BURST = 10;
	RAMP_UP = 0;
	SHORT_ELECTRODE = 1;
	ELEC_OFFSET = 4;
	//BYPASS_CAP = 0;

	for(int i = 0; i < 75; i++){
		ADC_BUFFER[0].data[i] = 0;
		ADC_BUFFER[1].data[i] = 0;
	}

	ENABLE_RECORD = 0;
	RECORD_FREQ = 2000;
	RECORD_START_OFFSET = 0;
	RECORD_END_OFFSET = 0;

	DAC_PHASE_ONE = 12767;
	DAC_PHASE_TWO = 52767; // 16 bits DAC8831
	DAC_GAP = 32767;

	if(ANODIC_CATHODIC){
		DAC_PHASE_ONE_COMP = DAC_PHASE_ONE + 110;
		DAC_PHASE_TWO_COMP = DAC_PHASE_TWO - 110;
	}else{
		DAC_PHASE_ONE_COMP = DAC_PHASE_ONE - 110;
		DAC_PHASE_TWO_COMP = DAC_PHASE_TWO + 110;
	}
	TEMP_DAC_PHASE_ONE = DAC_PHASE_ONE;
	TEMP_DAC_PHASE_TWO = DAC_PHASE_TWO;
	TEMP_DAC_GAP = DAC_GAP;
	TEMP_PULSE_NUM = PULSE_NUM;
	TEMP_PULSE_NUM_IN_BURST = PULSE_NUM_IN_ONE_BURST;
	TEMP_BURST_NUM = BURST_NUM;

	STIM_MODE = STIM_MODE_UNI_CONT;
	STIM_STATUS = 0;
	PULSE_PROBE = 0;

	// init timer value(-2us is delay compensation)
	/*PHASE_ONE_TIMER = 4 * (PHASE_ONE_TIME-2);
	PHASE_TWO_TIMER = 4 * (PHASE_TWO_TIME-2);
	if(INTER_PHASE_GAP > 2){
		PHASE_GAP_TIMER = 4 * (INTER_PHASE_GAP-2);
	}else{
		PHASE_GAP_TIMER = 4 * INTER_PHASE_GAP;
	}

	if(INTER_STIM_DELAY > 2){
		STIM_DELAY_TIMER = 4 * (INTER_STIM_DELAY - 2);
	}else{
		STIM_DELAY_TIMER = 4 * INTER_STIM_DELAY;
	}
	BURST_DELAY_TIMER = 4 * (INTER_BURST_DELAY - 2);*/

	PHASE_ONE_TIMER = 4 * PHASE_ONE_TIME;
	PHASE_TWO_TIMER = 4 * PHASE_TWO_TIME;
	PHASE_GAP_TIMER = 4 * INTER_PHASE_GAP;
	STIM_DELAY_TIMER = 4 * INTER_STIM_DELAY;
	BURST_DELAY_TIMER = 4 * INTER_BURST_DELAY;
}

static void Reset_Device( void )
{
#if ( CFG_HW_RESET_BY_FW == 1 )
	Reset_BackupDomain();

	Reset_IPCC();
#endif

	return;
}

static void Reset_IPCC( void )
{
	LL_AHB3_GRP1_EnableClock(LL_AHB3_GRP1_PERIPH_IPCC);

	LL_C1_IPCC_ClearFlag_CHx(
			IPCC,
			LL_IPCC_CHANNEL_1 | LL_IPCC_CHANNEL_2 | LL_IPCC_CHANNEL_3 | LL_IPCC_CHANNEL_4
			| LL_IPCC_CHANNEL_5 | LL_IPCC_CHANNEL_6);

	LL_C2_IPCC_ClearFlag_CHx(
			IPCC,
			LL_IPCC_CHANNEL_1 | LL_IPCC_CHANNEL_2 | LL_IPCC_CHANNEL_3 | LL_IPCC_CHANNEL_4
			| LL_IPCC_CHANNEL_5 | LL_IPCC_CHANNEL_6);

	LL_C1_IPCC_DisableTransmitChannel(
			IPCC,
			LL_IPCC_CHANNEL_1 | LL_IPCC_CHANNEL_2 | LL_IPCC_CHANNEL_3 | LL_IPCC_CHANNEL_4
			| LL_IPCC_CHANNEL_5 | LL_IPCC_CHANNEL_6);

	LL_C2_IPCC_DisableTransmitChannel(
			IPCC,
			LL_IPCC_CHANNEL_1 | LL_IPCC_CHANNEL_2 | LL_IPCC_CHANNEL_3 | LL_IPCC_CHANNEL_4
			| LL_IPCC_CHANNEL_5 | LL_IPCC_CHANNEL_6);

	LL_C1_IPCC_DisableReceiveChannel(
			IPCC,
			LL_IPCC_CHANNEL_1 | LL_IPCC_CHANNEL_2 | LL_IPCC_CHANNEL_3 | LL_IPCC_CHANNEL_4
			| LL_IPCC_CHANNEL_5 | LL_IPCC_CHANNEL_6);

	LL_C2_IPCC_DisableReceiveChannel(
			IPCC,
			LL_IPCC_CHANNEL_1 | LL_IPCC_CHANNEL_2 | LL_IPCC_CHANNEL_3 | LL_IPCC_CHANNEL_4
			| LL_IPCC_CHANNEL_5 | LL_IPCC_CHANNEL_6);

	return;
}

static void Reset_BackupDomain( void )
{
	if ((LL_RCC_IsActiveFlag_PINRST() != FALSE) && (LL_RCC_IsActiveFlag_SFTRST() == FALSE))
	{
		HAL_PWR_EnableBkUpAccess(); /**< Enable access to the RTC registers */

		/**
		 *  Write twice the value to flush the APB-AHB bridge
		 *  This bit shall be written in the register before writing the next one
		 */
		HAL_PWR_EnableBkUpAccess();

		__HAL_RCC_BACKUPRESET_FORCE();
		__HAL_RCC_BACKUPRESET_RELEASE();
	}

	return;
}

static void Init_Exti( void )
{
  /**< Disable all wakeup interrupt on CPU1  except IPCC(36), HSEM(38) */
  LL_EXTI_DisableIT_0_31(~0);
  LL_EXTI_DisableIT_32_63( (~0) & (~(LL_EXTI_LINE_36 | LL_EXTI_LINE_38)) );

  return;
}
/* USER CODE END 4 */

void Error_Handler(void)
{
}

/************************ (C) COPYRIGHT STMicroelectronics *****END OF FILE****/
